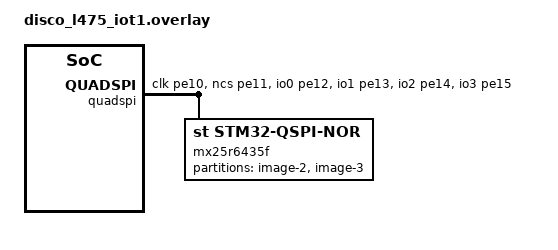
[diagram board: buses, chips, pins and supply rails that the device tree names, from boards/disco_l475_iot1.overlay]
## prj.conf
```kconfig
CONFIG_ENTROPY_GENERATOR=y
CONFIG_PRINTK=y
CONFIG_POLL=y
CONFIG_GPIO=y
CONFIG_STDOUT_CONSOLE=y
CONFIG_CONSOLE=y
CONFIG_UART_CONSOLE=y 
CONFIG_LOG=y
CONFIG_LOG_MODE_MINIMAL=y
CONFIG_SERIAL=y
```

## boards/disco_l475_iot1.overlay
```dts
// Delete slot1 and slot2 to enable rearranging of paritions
/delete-node/ &slot1_partition;
/delete-node/ &slot2_partition;
&quadspi {
    pinctrl-0 = <&quadspi_clk_pe10 &quadspi_ncs_pe11
             &quadspi_bk1_io0_pe12 &quadspi_bk1_io1_pe13
             &quadspi_bk1_io2_pe14 &quadspi_bk1_io3_pe15>;
    pinctrl-names = "default";
    dmas = <&dma1 5 5 0x0000>;
    dma-names = "tx_rx";

    status = "okay";

    mx25r6435f: qspi-nor-flash@90000000 {
        compatible = "st,stm32-qspi-nor";
        reg = <0x90000000 DT_SIZE_M(8)>; /* 64 Mbits */
        qspi-max-frequency = <50000000>;
        status = "okay";

        partitions {
            compatible = "fixed-partitions";
            #address-cells = <1>;
            #size-cells = <1>;

            slot2_partition: partition@0 {
                label = "image-2";
                reg = <0x00000000 DT_SIZE_K(864)>;
            };

            slot3_partition: partition@d8000 {
                label = "image-3";
                reg = <0x000d8000 DT_SIZE_M(7)>;
            };
        };
    };
};

// Delete slot0 to fix partition overlap
/delete-node/ &slot0_partition;
&flash0 {
    partitions {
        compatible = "fixed-partitions";
        #address-cells = <1>;
        #size-cells = <1>;

        boot_partition: partition@0 {
            label = "mcuboot";
            reg = <0x0 DT_SIZE_K(64)>;
            read-only;
        };

        slot0_partition: partition@10000 {
            label = "image-0";
            reg = <0x10000 DT_SIZE_K(468)>;
        };

        // Add new slot1 to ensure we can use swap algorithm
        slot1_partition: partition@84000 {
            label = "image-1";
            reg = <0x84000 DT_SIZE_K(460)>;
        };

        storage_partition: partition@f8000 {
            label = "storage";
            reg = <0xf8000 DT_SIZE_K(32)>;
        };
    };
};
```

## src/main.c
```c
#include <stdio.h>
#include <zephyr/kernel.h>
#include <zephyr/random/random.h>

#define STACK_SIZE 1024
#define DISPLAY_PRIORITY 5
#define RNG_PRIORITY 4

struct k_poll_signal sig;
uint16_t random_num;

void random_number_generate(void)  { 
    while (1) {
        random_num = sys_rand16_get(); 
        k_poll_signal_raise(&sig, 0);   
        k_sleep(K_SECONDS(2));
    }
}

void display(void) {
 //   k_poll_signal_init(&sig);  // Init the signal 

    struct k_poll_event events[1] = {
        K_POLL_EVENT_INITIALIZER(K_POLL_TYPE_SIGNAL, K_POLL_MODE_NOTIFY_ONLY, &sig),
    };

    while (1) {
        k_poll(events, 1, K_FOREVER);  // waits for sig
        int signaled, result;
        k_poll_signal_check(&sig, &signaled, &result);

        if (signaled) {
            printk("Random Num: %08u\n", random_num);
            k_poll_signal_reset(&sig);   
        }
    }
}

int main(void) {
    k_poll_signal_init(&sig);   
    return 0;
}

K_THREAD_DEFINE(rng_id, STACK_SIZE, random_number_generate, NULL, NULL, NULL, RNG_PRIORITY, 0, 0);

K_THREAD_DEFINE(display_id, STACK_SIZE, display, NULL, NULL, NULL, DISPLAY_PRIORITY, 0, 0);
```
